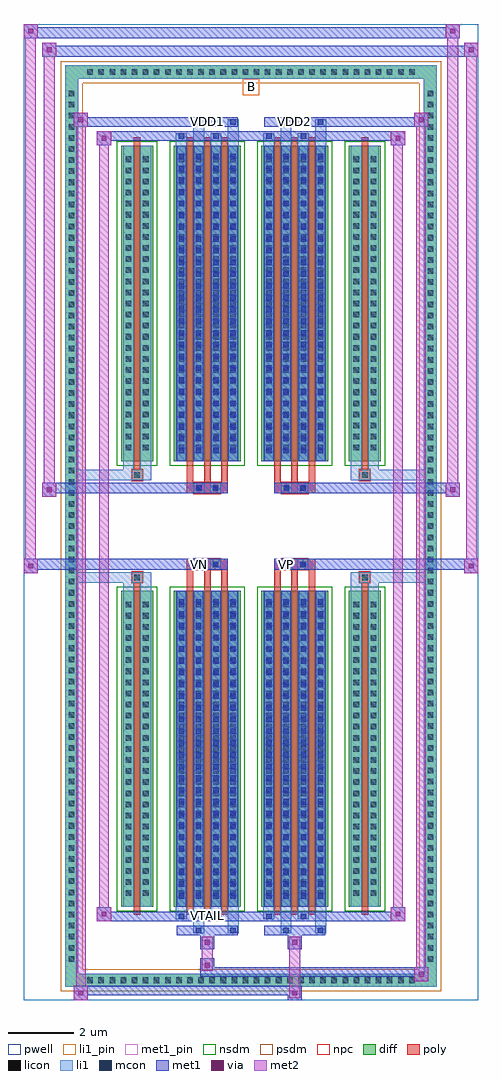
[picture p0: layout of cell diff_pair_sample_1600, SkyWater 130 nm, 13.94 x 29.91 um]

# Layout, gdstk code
import gdstk
lib = gdstk.Library(unit=1e-6, precision=5e-09)
def R(c, l, rs):  # rectangles x0, y0, x1, y1
    for r in rs: c.add(gdstk.rectangle(r[:2], r[2:], *l))
def A(c, l, x, y, w, h, nx, ny, dx, dy):  # array of equal rectangles
    R(c, l, [(x+i*dx, y+j*dy, x+i*dx+w, y+j*dy+h) for i in range(nx) for j in range(ny)])
def P(c, l, *ps):  # polygons
    for p in ps: c.add(gdstk.Polygon(p, *l))
pwell = (64, 44)
diff = (65, 20)
poly = (66, 20)
licon = (66, 44)
li1_pin = (67, 16)
li1 = (67, 20)
mcon = (67, 44)
met1_pin = (68, 16)
met1 = (68, 20)
via = (68, 44)
met2 = (69, 20)
nsdm = (93, 44)
psdm = (94, 20)
npc = (95, 20)

diff_pair_sample_1600 = lib.new_cell('diff_pair_sample_1600')
R(diff_pair_sample_1600, pwell, [(-6.97,-14.52,6.97,15.39), (-4.29,-12.71,-0.01,-0.805), (0.01,-12.71,4.29,-0.805), (-4.29,0.805,-0.01,12.71), (0.01,0.805,4.29,12.71)])
A(diff_pair_sample_1600, diff, -5.135, -14.12, 0.41, 0.41, 30, 2, 0.34, 27.83)
A(diff_pair_sample_1600, diff, -5.7, -13.465, 0.41, 0.41, 1, 79, 0, 0.34)
A(diff_pair_sample_1600, diff, 5.29, -13.465, 0.41, 0.41, 1, 79, 0, 0.34)
R(diff_pair_sample_1600, diff, [(-5.135,-14.12,5.135,-13.71), (-5.7,-13.465,-5.29,13.465), (5.29,-13.465,5.7,13.465), (-3.98,-11.665,-3,-1.985), (-2.36,-11.665,-0.32,-1.985), (0.32,-11.665,2.36,-1.985), (3,-11.665,3.98,-1.985), (-3.98,1.985,-3,11.665), (-2.36,1.985,-0.32,11.665), (0.32,1.985,2.36,11.665), (3,1.985,3.98,11.665), (-5.135,13.71,5.135,14.12)])
P(diff_pair_sample_1600, diff, [(5.7,14.12),(-5.7,14.12),(-5.7,-13.71),(-5.29,-13.71),(-5.29,13.71),(5.29,13.71),(5.29,-13.71),(-5.29,-13.71),(-5.7,-13.71),(-5.7,-14.12),(5.7,-14.12)])
A(diff_pair_sample_1600, poly, -1.97, -11.915, 0.2, 10.18, 3, 2, 0.53, 13.65)
A(diff_pair_sample_1600, poly, 0.71, -11.915, 0.2, 10.18, 3, 2, 0.53, 13.65)
A(diff_pair_sample_1600, poly, -1.97, -1.735, 0.2, 0.4, 3, 2, 0.53, 3.07)
A(diff_pair_sample_1600, poly, 0.71, -1.735, 0.2, 0.4, 3, 2, 0.53, 3.07)
R(diff_pair_sample_1600, poly, [(-3.59,-11.915,-3.39,-1.735), (3.39,-11.915,3.59,-1.735), (-3.655,-1.735,-3.325,-1.405), (-3.655,-1.735,-3.325,-1.405), (3.325,-1.735,3.655,-1.405), (3.325,-1.735,3.655,-1.405), (-1.97,-1.335,-0.71,-1.005), (-1.755,-1.335,-1.425,-1.005), (-1.255,-1.335,-0.925,-1.005), (0.71,-1.335,1.97,-1.005), (0.925,-1.335,1.255,-1.005), (1.425,-1.335,1.755,-1.005), (-1.97,1.005,-0.71,1.335), (-1.755,1.005,-1.425,1.335), (-1.255,1.005,-0.925,1.335), (0.71,1.005,1.97,1.335), (0.925,1.005,1.255,1.335), (1.425,1.005,1.755,1.335), (-3.655,1.405,-3.325,1.735), (-3.655,1.405,-3.325,1.735), (3.325,1.405,3.655,1.735), (3.325,1.405,3.655,1.735), (-3.59,1.735,-3.39,11.915), (3.39,1.735,3.59,11.915)])
A(diff_pair_sample_1600, licon, -5.015, -14, 0.17, 0.17, 30, 2, 0.34, 27.83)
A(diff_pair_sample_1600, licon, -5.58, -13.345, 0.17, 0.17, 1, 79, 0, 0.34)
A(diff_pair_sample_1600, licon, 5.41, -13.345, 0.17, 0.17, 1, 79, 0, 0.34)
A(diff_pair_sample_1600, licon, -3.84, -11.33, 0.17, 0.17, 1, 27, 0, 0.34)
A(diff_pair_sample_1600, licon, -3.31, -11.33, 0.17, 0.17, 1, 27, 0, 0.34)
A(diff_pair_sample_1600, licon, -2.22, -11.33, 0.17, 0.17, 4, 27, 0.53, 0.34)
A(diff_pair_sample_1600, licon, 0.46, -11.33, 0.17, 0.17, 4, 27, 0.53, 0.34)
A(diff_pair_sample_1600, licon, 3.14, -11.33, 0.17, 0.17, 1, 27, 0, 0.34)
A(diff_pair_sample_1600, licon, 3.67, -11.33, 0.17, 0.17, 1, 27, 0, 0.34)
A(diff_pair_sample_1600, licon, -3.84, 2.32, 0.17, 0.17, 1, 27, 0, 0.34)
A(diff_pair_sample_1600, licon, -3.31, 2.32, 0.17, 0.17, 1, 27, 0, 0.34)
A(diff_pair_sample_1600, licon, -2.22, 2.32, 0.17, 0.17, 4, 27, 0.53, 0.34)
A(diff_pair_sample_1600, licon, 0.46, 2.32, 0.17, 0.17, 4, 27, 0.53, 0.34)
A(diff_pair_sample_1600, licon, 3.14, 2.32, 0.17, 0.17, 1, 27, 0, 0.34)
A(diff_pair_sample_1600, licon, 3.67, 2.32, 0.17, 0.17, 1, 27, 0, 0.34)
R(diff_pair_sample_1600, licon, [(-3.575,-1.655,-3.405,-1.485), (3.405,-1.655,3.575,-1.485), (-1.675,-1.255,-1.505,-1.085), (-1.175,-1.255,-1.005,-1.085), (1.005,-1.255,1.175,-1.085), (1.505,-1.255,1.675,-1.085), (-1.675,1.085,-1.505,1.255), (-1.175,1.085,-1.005,1.255), (1.005,1.085,1.175,1.255), (1.505,1.085,1.675,1.255), (-3.575,1.485,-3.405,1.655), (3.405,1.485,3.575,1.655)])
R(diff_pair_sample_1600, li1_pin, [(-0.25,13.21,0.25,13.71)])
A(diff_pair_sample_1600, li1, -5.095, -14.08, 0.33, 0.33, 30, 2, 0.34, 27.83)
A(diff_pair_sample_1600, li1, -5.66, -13.425, 0.33, 0.33, 1, 79, 0, 0.34)
A(diff_pair_sample_1600, li1, 5.33, -13.425, 0.33, 0.33, 1, 79, 0, 0.34)
A(diff_pair_sample_1600, li1, -2.3, -11.665, 0.33, 9.68, 4, 2, 0.53, 13.65)
A(diff_pair_sample_1600, li1, 0.38, -11.665, 0.33, 9.68, 4, 2, 0.53, 13.65)
A(diff_pair_sample_1600, li1, -3.92, -11.41, 0.33, 0.33, 1, 27, 0, 0.34)
A(diff_pair_sample_1600, li1, -3.39, -11.41, 0.33, 0.33, 1, 27, 0, 0.34)
A(diff_pair_sample_1600, li1, -2.3, -11.41, 0.33, 0.33, 4, 27, 0.53, 0.34)
A(diff_pair_sample_1600, li1, -2.22, -11.41, 0.17, 0.17, 4, 26, 0.53, 0.36)
A(diff_pair_sample_1600, li1, -2.22, -11.41, 0.17, 9.17, 4, 2, 0.53, 13.65)
A(diff_pair_sample_1600, li1, 0.38, -11.41, 0.33, 0.33, 4, 27, 0.53, 0.34)
A(diff_pair_sample_1600, li1, 0.46, -11.41, 0.17, 0.17, 4, 26, 0.53, 0.36)
A(diff_pair_sample_1600, li1, 0.46, -11.41, 0.17, 9.17, 4, 2, 0.53, 13.65)
A(diff_pair_sample_1600, li1, 3.06, -11.41, 0.33, 0.33, 1, 27, 0, 0.34)
A(diff_pair_sample_1600, li1, 3.59, -11.41, 0.33, 0.33, 1, 27, 0, 0.34)
A(diff_pair_sample_1600, li1, -3.92, 2.24, 0.33, 0.33, 1, 27, 0, 0.34)
A(diff_pair_sample_1600, li1, -3.39, 2.24, 0.33, 0.33, 1, 27, 0, 0.34)
A(diff_pair_sample_1600, li1, -2.3, 2.24, 0.33, 0.33, 4, 27, 0.53, 0.34)
A(diff_pair_sample_1600, li1, -2.22, 2.24, 0.17, 0.17, 4, 26, 0.53, 0.36)
A(diff_pair_sample_1600, li1, 0.38, 2.24, 0.33, 0.33, 4, 27, 0.53, 0.34)
A(diff_pair_sample_1600, li1, 0.46, 2.24, 0.17, 0.17, 4, 26, 0.53, 0.36)
A(diff_pair_sample_1600, li1, 3.06, 2.24, 0.33, 0.33, 1, 27, 0, 0.34)
A(diff_pair_sample_1600, li1, 3.59, 2.24, 0.33, 0.33, 1, 27, 0, 0.34)
R(diff_pair_sample_1600, li1, [(-5.7,-14.12,-5.29,-13.71), (-5.7,-14.12,-5.29,-13.71), (-5.29,-14.12,5.29,-13.71), (5.29,-14.12,5.7,-13.71), (5.29,-14.12,5.7,-13.71), (-5.7,-13.71,-5.29,13.71), (5.29,-13.71,5.7,13.71), (-1.77,-12.47,-1.44,-11.665), (-1.69,-12.47,-1.52,-12.3), (-0.71,-12.47,-0.38,-11.665), (-0.63,-12.47,-0.46,-12.3), (0.91,-12.47,1.24,-11.665), (0.99,-12.47,1.16,-12.3), (1.97,-12.47,2.3,-11.665), (2.05,-12.47,2.22,-12.3), (-2.3,-12.04,-1.97,-11.665), (-2.22,-12.04,-2.05,-11.87), (-1.24,-12.04,-0.91,-11.665), (-1.16,-12.04,-0.99,-11.87), (0.38,-12.04,0.71,-11.665), (0.46,-12.04,0.63,-11.87), (1.44,-12.04,1.77,-11.665), (1.52,-12.04,1.69,-11.87), (-3.92,-11.665,-3.59,-1.985), (-3.39,-11.665,-3.06,-1.985), (3.06,-11.665,3.39,-1.985), (3.59,-11.665,3.92,-1.985), (-3.92,-1.985,-3.59,-1.405), (-3.39,-1.985,-3.06,-1.405), (3.06,-1.985,3.39,-1.405), (3.59,-1.985,3.92,-1.405), (-5.7,-1.735,-3.655,-1.405), (-3.92,-1.735,-3.655,-1.405), (-3.655,-1.735,-3.325,-1.405), (-3.325,-1.735,-3.06,-1.405), (3.06,-1.735,3.325,-1.405), (3.325,-1.735,3.655,-1.405), (3.325,-1.735,5.7,-1.405), (3.655,-1.735,3.92,-1.405), (-1.755,-1.335,-1.425,-1.005), (-1.255,-1.335,-0.925,-1.005), (0.925,-1.335,1.255,-1.005), (1.425,-1.335,1.755,-1.005), (-1.755,1.005,-1.425,1.335), (-1.255,1.005,-0.925,1.335), (0.925,1.005,1.255,1.335), (1.425,1.005,1.755,1.335), (-5.7,1.405,-3.655,1.735), (-3.92,1.405,-3.655,1.735), (-3.92,1.405,-3.59,1.985), (-3.655,1.405,-3.325,1.735), (-3.39,1.405,-3.06,1.985), (-3.325,1.405,-3.06,1.735), (3.06,1.405,3.325,1.735), (3.06,1.405,3.39,1.985), (3.325,1.405,3.655,1.735), (3.325,1.405,5.7,1.735), (3.59,1.405,3.92,1.985), (3.655,1.405,3.92,1.735), (-3.92,1.985,-3.59,11.665), (-3.39,1.985,-3.06,11.665), (3.06,1.985,3.39,11.665), (3.59,1.985,3.92,11.665), (-2.3,11.665,-1.97,12.04), (-1.77,11.665,-1.44,12.47), (-1.24,11.665,-0.91,12.04), (-0.71,11.665,-0.38,12.47), (0.38,11.665,0.71,12.04), (0.91,11.665,1.24,12.47), (1.44,11.665,1.77,12.04), (1.97,11.665,2.3,12.47), (-2.22,11.87,-2.05,12.04), (-1.16,11.87,-0.99,12.04), (0.46,11.87,0.63,12.04), (1.52,11.87,1.69,12.04), (-1.69,12.3,-1.52,12.47), (-0.63,12.3,-0.46,12.47), (0.99,12.3,1.16,12.47), (2.05,12.3,2.22,12.47), (-5.7,13.71,-5.29,14.12), (-5.7,13.71,-5.29,14.12), (-5.29,13.71,5.29,14.12), (5.29,13.71,5.7,14.12), (5.29,13.71,5.7,14.12)])
A(diff_pair_sample_1600, mcon, -2.22, -11.41, 0.17, 0.17, 4, 26, 0.53, 0.36)
A(diff_pair_sample_1600, mcon, 0.46, -11.41, 0.17, 0.17, 4, 26, 0.53, 0.36)
A(diff_pair_sample_1600, mcon, -2.22, 2.24, 0.17, 0.17, 4, 26, 0.53, 0.36)
A(diff_pair_sample_1600, mcon, 0.46, 2.24, 0.17, 0.17, 4, 26, 0.53, 0.36)
R(diff_pair_sample_1600, mcon, [(-1.69,-12.47,-1.52,-12.3), (-0.63,-12.47,-0.46,-12.3), (0.99,-12.47,1.16,-12.3), (2.05,-12.47,2.22,-12.3), (-2.22,-12.04,-2.05,-11.87), (-1.16,-12.04,-0.99,-11.87), (0.46,-12.04,0.63,-11.87), (1.52,-12.04,1.69,-11.87), (-1.675,-1.255,-1.505,-1.085), (-1.175,-1.255,-1.005,-1.085), (1.005,-1.255,1.175,-1.085), (1.505,-1.255,1.675,-1.085), (-1.675,1.085,-1.505,1.255), (-1.175,1.085,-1.005,1.255), (1.005,1.085,1.175,1.255), (1.505,1.085,1.675,1.255), (-2.22,11.87,-2.05,12.04), (-1.16,11.87,-0.99,12.04), (0.46,11.87,0.63,12.04), (1.52,11.87,1.69,12.04), (-1.69,12.3,-1.52,12.47), (-0.63,12.3,-0.46,12.47), (0.99,12.3,1.16,12.47), (2.05,12.3,2.22,12.47)])
R(diff_pair_sample_1600, met1_pin, [(-1.475,-12.08,-1.205,-11.81), (-1.725,-1.295,-1.455,-1.025), (0.955,-1.295,1.225,-1.025), (-1.475,12.26,-1.205,12.53), (1.205,12.26,1.475,12.53)])
A(diff_pair_sample_1600, met1, -2.28, -11.665, 0.29, 9.68, 4, 2, 0.53, 13.65)
A(diff_pair_sample_1600, met1, 0.4, -11.665, 0.29, 9.68, 4, 2, 0.53, 13.65)
A(diff_pair_sample_1600, met1, -2.28, -11.47, 0.29, 0.29, 4, 26, 0.53, 0.36)
A(diff_pair_sample_1600, met1, 0.4, -11.47, 0.29, 0.29, 4, 26, 0.53, 0.36)
A(diff_pair_sample_1600, met1, -2.28, 2.18, 0.29, 0.29, 4, 26, 0.53, 0.36)
A(diff_pair_sample_1600, met1, 0.4, 2.18, 0.29, 0.29, 4, 26, 0.53, 0.36)
R(diff_pair_sample_1600, met1, [(-5.43,-14.52,-5,-14.09), (1.125,-14.52,1.555,-14.09), (-5.43,-14.38,1.555,-14.09), (5,-13.95,5.43,-13.52), (-1.555,-13.81,5.43,-13.52), (-1.555,-13.67,-1.125,-13.24), (-1.555,-12.96,-1.125,-12.53), (1.125,-12.96,1.555,-12.53), (-2.28,-12.53,-0.4,-12.24), (-1.75,-12.53,-1.46,-12.24), (-0.69,-12.53,-0.4,-12.24), (0.4,-12.53,2.28,-12.24), (0.93,-12.53,1.22,-12.24), (1.99,-12.53,2.28,-12.24), (-4.72,-12.1,-4.29,-11.67), (-4.72,-12.1,-2.28,-11.81), (-2.28,-12.1,-1.99,-11.81), (-2.28,-12.1,-0.4,-11.81), (-1.22,-12.1,-0.93,-11.81), (-0.4,-12.1,0.4,-11.81), (0.4,-12.1,0.69,-11.81), (0.4,-12.1,2.28,-11.81), (1.46,-12.1,1.75,-11.81), (2.28,-12.1,4.72,-11.81), (4.29,-12.1,4.72,-11.67), (-6.97,-1.435,-6.54,-1.005), (6.54,-1.435,6.97,-1.005), (-6.97,-1.335,-0.71,-1.005), (-1.97,-1.335,-0.71,-1.005), (0.71,-1.335,1.97,-1.005), (0.71,-1.335,6.97,-1.005), (-1.735,-1.315,-1.445,-1.025), (-1.235,-1.315,-0.945,-1.025), (0.945,-1.315,1.235,-1.025), (1.445,-1.315,1.735,-1.025), (-6.4,0.905,-5.97,1.335), (5.97,0.905,6.4,1.335), (-6.4,1.005,-1.97,1.335), (-1.97,1.005,-0.71,1.335), (0.71,1.005,1.97,1.335), (1.97,1.005,6.4,1.335), (-1.735,1.025,-1.445,1.315), (-1.235,1.025,-0.945,1.315), (0.945,1.025,1.235,1.315), (1.445,1.025,1.735,1.315), (-4.72,11.67,-4.29,12.1), (4.29,11.67,4.72,12.1), (-4.72,11.81,-2.28,12.1), (-2.28,11.81,-1.99,12.1), (-2.28,11.81,-0.4,12.1), (-1.22,11.81,-0.93,12.1), (-0.4,11.81,0.4,12.1), (0.4,11.81,0.69,12.1), (0.4,11.81,2.28,12.1), (1.46,11.81,1.75,12.1), (2.28,11.81,4.72,12.1), (-5.43,12.24,-5,12.67), (-5.43,12.24,-2.28,12.53), (-2.28,12.24,-0.4,12.53), (-1.75,12.24,-1.46,12.53), (-0.69,12.24,-0.4,12.53), (0.4,12.24,2.28,12.53), (0.93,12.24,1.22,12.53), (1.99,12.24,2.28,12.53), (2.28,12.24,5.43,12.53), (5,12.24,5.43,12.67), (-6.4,14.39,-5.97,14.82), (-6.4,14.39,-4.29,14.72), (-4.29,14.39,4.29,14.72), (4.29,14.39,6.97,14.72), (6.54,14.39,6.97,14.82), (-6.97,14.96,-6.54,15.39), (-6.97,14.96,-4.29,15.29), (-4.29,14.96,4.29,15.29), (4.29,14.96,6.4,15.29), (5.97,14.96,6.4,15.39)])
R(diff_pair_sample_1600, via, [(-5.29,-14.38,-5.14,-14.23), (1.265,-14.38,1.415,-14.23), (5.14,-13.81,5.29,-13.66), (-1.415,-13.53,-1.265,-13.38), (-1.415,-12.82,-1.265,-12.67), (1.265,-12.82,1.415,-12.67), (-4.58,-11.96,-4.43,-11.81), (4.43,-11.96,4.58,-11.81), (-6.83,-1.295,-6.68,-1.145), (6.68,-1.295,6.83,-1.145), (-6.26,1.045,-6.11,1.195), (6.11,1.045,6.26,1.195), (-4.58,11.81,-4.43,11.96), (4.43,11.81,4.58,11.96), (-5.29,12.38,-5.14,12.53), (5.14,12.38,5.29,12.53), (-6.26,14.53,-6.11,14.68), (6.68,14.53,6.83,14.68), (-6.83,15.1,-6.68,15.25), (6.11,15.1,6.26,15.25)])
R(diff_pair_sample_1600, met2, [(-5.43,-14.52,-5,-14.09), (-5.36,-14.52,-5.07,12.67), (-5.07,-14.52,-5,-14.09), (-5.38,-14.47,-5.05,-14.14), (1.175,-14.47,1.505,-14.14), (1.175,-14.14,1.505,-12.91), (5,-13.95,5.43,-13.52), (5.07,-13.95,5.36,12.67), (5.36,-13.95,5.43,-13.52), (5.05,-13.9,5.38,-13.57), (-1.505,-13.62,-1.175,-13.29), (-1.505,-13.29,-1.175,-12.91), (-1.505,-12.91,-1.175,-12.58), (1.175,-12.91,1.505,-12.58), (-4.72,-12.1,-4.29,-11.67), (-4.65,-12.1,-4.36,12.1), (-4.36,-12.1,-4.29,-11.67), (4.29,-12.1,4.72,-11.67), (4.36,-12.1,4.65,12.1), (4.65,-12.1,4.72,-11.67), (-4.67,-12.05,-4.34,-11.72), (4.34,-12.05,4.67,-11.72), (-6.97,-1.435,-6.54,-1.005), (-6.92,-1.435,-6.59,15.39), (-6.59,-1.435,-6.54,-1.005), (6.54,-1.435,6.97,-1.005), (6.59,-1.435,6.92,14.82), (6.92,-1.435,6.97,-1.005), (-6.92,-1.385,-6.59,-1.055), (6.59,-1.385,6.92,-1.055), (-6.4,0.905,-5.97,1.335), (-6.35,0.905,-6.02,14.82), (-6.02,0.905,-5.97,1.335), (5.97,0.905,6.4,1.335), (6.02,0.905,6.35,15.39), (6.35,0.905,6.4,1.335), (-6.35,0.955,-6.02,1.285), (6.02,0.955,6.35,1.285), (-4.72,11.67,-4.29,12.1), (-4.36,11.67,-4.29,12.1), (4.29,11.67,4.72,12.1), (4.65,11.67,4.72,12.1), (-4.67,11.72,-4.34,12.05), (4.34,11.72,4.67,12.05), (-5.43,12.24,-5,12.67), (-5.07,12.24,-5,12.67), (5,12.24,5.43,12.67), (5.36,12.24,5.43,12.67), (-5.38,12.29,-5.05,12.62), (5.05,12.29,5.38,12.62), (-6.4,14.39,-5.97,14.82), (-6.02,14.39,-5.97,14.82), (6.54,14.39,6.97,14.82), (6.92,14.39,6.97,14.82), (-6.35,14.44,-6.02,14.77), (6.59,14.44,6.92,14.77), (-6.97,14.96,-6.54,15.39), (-6.59,14.96,-6.54,15.39), (5.97,14.96,6.4,15.39), (6.35,14.96,6.4,15.39), (-6.92,15.01,-6.59,15.34), (6.02,15.01,6.35,15.34)])
R(diff_pair_sample_1600, nsdm, [(-4.11,-11.795,-2.87,-1.855), (-2.49,-11.795,-0.19,-1.855), (0.19,-11.795,2.49,-1.855), (2.87,-11.795,4.11,-1.855), (-4.11,1.855,-2.87,11.795), (-2.49,1.855,-0.19,11.795), (0.19,1.855,2.49,11.795), (2.87,1.855,4.11,11.795)])
P(diff_pair_sample_1600, psdm, [(5.83,14.25),(-5.83,14.25),(-5.83,-13.58),(-5.16,-13.58),(-5.16,13.58),(5.16,13.58),(5.16,-13.58),(-5.16,-13.58),(-5.83,-13.58),(-5.83,-14.25),(5.83,-14.25)])
R(diff_pair_sample_1600, npc, [(-3.675,-1.755,-3.305,-1.385), (3.305,-1.755,3.675,-1.385), (-1.775,-1.355,-1.405,-0.985), (-1.775,-1.355,-0.905,-0.985), (-1.775,-1.355,-0.905,-0.985), (-1.275,-1.355,-0.905,-0.985), (0.905,-1.355,1.275,-0.985), (0.905,-1.355,1.775,-0.985), (0.905,-1.355,1.775,-0.985), (1.405,-1.355,1.775,-0.985), (-1.775,0.985,-1.405,1.355), (-1.775,0.985,-0.905,1.355), (-1.775,0.985,-0.905,1.355), (-1.275,0.985,-0.905,1.355), (0.905,0.985,1.275,1.355), (0.905,0.985,1.775,1.355), (0.905,0.985,1.775,1.355), (1.405,0.985,1.775,1.355), (-3.675,1.385,-3.305,1.755), (3.305,1.385,3.675,1.755)])
diff_pair_sample_1600.add(gdstk.Label('VTAIL', (-1.34,-11.945), layer=68, texttype=5))
diff_pair_sample_1600.add(gdstk.Label('VN', (-1.59,-1.16), layer=68, texttype=5))
diff_pair_sample_1600.add(gdstk.Label('VP', (1.09,-1.16), layer=68, texttype=5))
diff_pair_sample_1600.add(gdstk.Label('B', (0,13.46), layer=67, texttype=5))
diff_pair_sample_1600.add(gdstk.Label('VDD2', (1.34,12.395), layer=68, texttype=5))
diff_pair_sample_1600.add(gdstk.Label('VDD1', (-1.34,12.395), layer=68, texttype=5))

lib.write_gds('diff_pair_sample_1600.gds')
